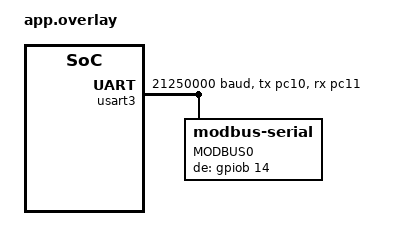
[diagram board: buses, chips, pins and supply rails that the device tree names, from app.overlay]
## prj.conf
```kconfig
CONFIG_LOG=y
CONFIG_GPIO=y
CONFIG_SERIAL=y
CONFIG_UART_LOG_LEVEL_DBG=y
#CONFIG_UART_INTERRUPT_DRIVEN=y
CONFIG_UART_LINE_CTRL=n

CONFIG_MODBUS=y
CONFIG_MODBUS_ROLE_SERVER=y


CONFIG_UART_ASYNC_API=y

CONFIG_MODBUS=y
CONFIG_MODBUS_SERIAL_IRQ=n
CONFIG_MODBUS_SERIAL_ASYNC=y
```

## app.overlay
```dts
/*
 * Copyright (c) 2020 Phytec Messtechnik GmbH
 *
 * SPDX-License-Identifier: Apache-2.0
 */

&usart3 {
	
	pinctrl-0 = < &usart3_tx_pc10 &usart3_rx_pc11 >;
	pinctrl-names = "default";
	current-speed = < 21250000 >;
	status = "okay";
	dmas = <&dmamux1 2 29 0x440>,
		   <&dmamux1 1 28 0x480>;
	dma-names = "tx", "rx";
	modbus0 {
		compatible = "zephyr,modbus-serial";
		label = "MODBUS0";
		status = "okay";
		de-gpios = <&gpiob 14 GPIO_ACTIVE_HIGH>;	/* D9 */
	};
};

&dma1 {
	status = "okay";
};

&dmamux1 {
	status = "okay";
};

&{/leds}{
	yellow_led: led_1 {
		gpios = < &gpiob 5 0x0 >;
	};
	red_led: led_2 {
		gpios = < &gpiob 7 0x0 >;
	};
	cyan_led: led_3 {
		gpios = < &gpioc 8 0x0 >;
	};
};

&{/aliases}{
	led1 = &yellow_led;
	led2 = &red_led;
	led3 = &cyan_led;
};

// /delete-node/ &arduino_header;
```

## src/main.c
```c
/*
 * Copyright (c) 2020 PHYTEC Messtechnik GmbH
 * Copyright (c) 2022 Nordic Semiconductor ASA
 *
 * SPDX-License-Identifier: Apache-2.0
 */

#include <zephyr/kernel.h>
#include <zephyr/sys/util.h>
#include <zephyr/drivers/gpio.h>
#include <zephyr/modbus/modbus.h>
#include <zephyr/usb/usb_device.h>

#include <zephyr/logging/log.h>
LOG_MODULE_REGISTER(mbs_sample, LOG_LEVEL_INF);

static uint16_t holding_reg[8];
static uint8_t coils_state;

struct gpio_dt_spec gpiotoggle = GPIO_DT_SPEC_GET(DT_ALIAS(led3), gpios);

static const struct gpio_dt_spec led_dev[] = {
	GPIO_DT_SPEC_GET(DT_ALIAS(led0), gpios),
	GPIO_DT_SPEC_GET(DT_ALIAS(led1), gpios),
	GPIO_DT_SPEC_GET(DT_ALIAS(led2), gpios),
};

static int coil_rd(uint16_t addr, bool *state)
{
	if (addr >= ARRAY_SIZE(led_dev)) {
		return -ENOTSUP;
	}

	if (coils_state & BIT(addr)) {
		*state = true;
	} else {
		*state = false;
	}

	LOG_INF("Coil read, addr %u, %d", addr, (int)*state);

	return 0;
}

static int coil_wr(uint16_t addr, bool state)
{
	bool on;

	if (addr >= ARRAY_SIZE(led_dev)) {
		return -ENOTSUP;
	}


	if (state == true) {
		coils_state |= BIT(addr);
		on = true;
	} else {
		coils_state &= ~BIT(addr);
		on = false;
	}

	gpio_pin_set(led_dev[addr].port, led_dev[addr].pin, (int)on);

	LOG_INF("Coil write, addr %u, %d", addr, (int)state);

	return 0;
}

static int holding_reg_rd(uint16_t addr, uint16_t *reg)
{
	if (addr >= ARRAY_SIZE(holding_reg)) {
		return -ENOTSUP;
	}

	*reg = holding_reg[addr];

	LOG_INF("Holding register read, addr %u", addr);

	return 0;
}

static int holding_reg_wr(uint16_t addr, uint16_t reg)
{
	if (addr >= ARRAY_SIZE(holding_reg)) {
		return -ENOTSUP;
	}

	holding_reg[addr] = reg;

	LOG_INF("Holding register write, addr %u", addr);

	return 0;
}

static struct modbus_user_callbacks mbs_cbs = {
	.coil_rd = coil_rd,
	.coil_wr = coil_wr,
	// .holding_reg_rd = holding_reg_rd,
	// .holding_reg_wr = holding_reg_wr,
};

const static struct modbus_iface_param server_param = {
	.mode = MODBUS_MODE_RTU,
	.server = {
		.user_cb = &mbs_cbs,
		.unit_id = 1,
	},
	.serial = {
		.baud = 21250000,
		.parity = UART_CFG_PARITY_NONE,
	},
};

#define MODBUS_NODE DT_COMPAT_GET_ANY_STATUS_OKAY(zephyr_modbus_serial)

static int init_modbus_server(void)
{
	const char iface_name[] = {DEVICE_DT_NAME(MODBUS_NODE)};
	int iface;

	iface = modbus_iface_get_by_name(iface_name);

	if (iface < 0) {
		LOG_ERR("Failed to get iface index for %s", iface_name);
		return iface;
	}

	return modbus_init_server(iface, server_param);
}

void main(void)
{
	int err;

	for (int i = 0; i < ARRAY_SIZE(led_dev); i++) {
		if (!device_is_ready(led_dev[i].port)) {
			LOG_ERR("LED%u GPIO device not ready", i);
			return;
		}

		err = gpio_pin_configure_dt(&led_dev[i], GPIO_OUTPUT_INACTIVE);
		if (err != 0) {
			LOG_ERR("Failed to configure LED%u pin", i);
			return;
		}

		err = gpio_pin_configure_dt(&gpiotoggle, GPIO_OUTPUT_ACTIVE);
		if (err != 0) {
			LOG_ERR("Failed to configure LED%u pin", i);
			return;
		}
	}

#if DT_NODE_HAS_COMPAT(DT_PARENT(MODBUS_NODE), zephyr_cdc_acm_uart)
	const struct device *const dev = DEVICE_DT_GET(DT_PARENT(MODBUS_NODE));
	uint32_t dtr = 0;

	if (!device_is_ready(dev) || usb_enable(NULL)) {
		return;
	}

	while (!dtr) {
		uart_line_ctrl_get(dev, UART_LINE_CTRL_DTR, &dtr);
		k_sleep(K_MSEC(100));
	}

	LOG_INF("Client connected to server on %s", dev->name);
#endif

	if (init_modbus_server()) {
		LOG_ERR("Modbus RTU server initialization failed");
	}
}
```
